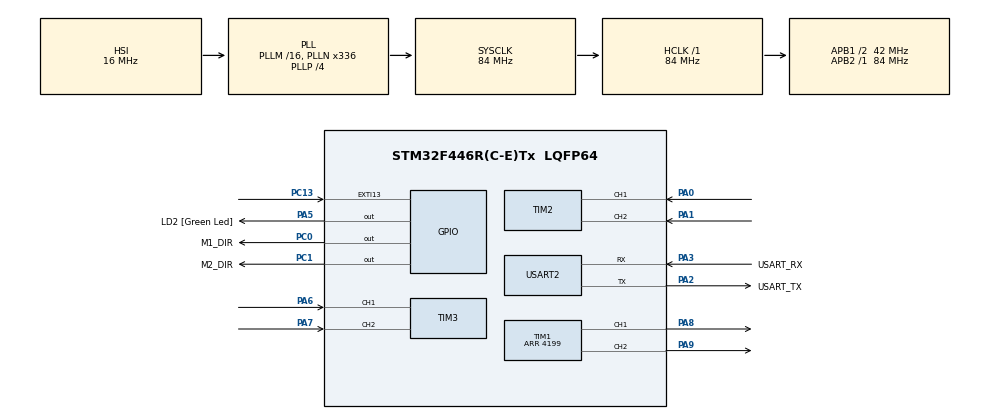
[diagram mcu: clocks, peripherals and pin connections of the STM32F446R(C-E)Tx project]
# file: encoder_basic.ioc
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Mcu.Family=STM32F4
Mcu.Name=STM32F446R(C-E)Tx
Mcu.Package=LQFP64
NUCLEO-F446RE.BUTTON=1
NVIC.EXTI15_10_IRQn=true\:0\:0\:false\:false\:true\:false\:true\:true
NVIC.PriorityGroup=NVIC_PRIORITYGROUP_0
NVIC.USART2_IRQn=true\:0\:0\:false\:false\:true\:true\:true\:true
PA0-WKUP.Signal=S_TIM2_CH1_ETR
PA1.Signal=S_TIM2_CH2
PA13.GPIO_Label=TMS
PA13.Signal=SYS_JTMS-SWDIO
PA14.GPIO_Label=TCK
PA14.Signal=SYS_JTCK-SWCLK
PA2.GPIO_Label=USART_TX
PA2.Mode=Asynchronous
PA2.Signal=USART2_TX
PA3.GPIO_Label=USART_RX
PA3.Mode=Asynchronous
PA3.Signal=USART2_RX
PA5.GPIO_Label=LD2 [Green Led]
PA5.Signal=GPIO_Output
PA6.Signal=S_TIM3_CH1
PA7.Signal=S_TIM3_CH2
PA8.Signal=S_TIM1_CH1
PA9.Signal=S_TIM1_CH2
PB3.GPIO_Label=SWO
PB3.Signal=SYS_JTDO-SWO
PC0.GPIO_Label=M1_DIR
PC0.Signal=GPIO_Output
PC1.GPIO_Label=M2_DIR
PC1.Signal=GPIO_Output
PC13.Signal=GPXTI13
PC14-OSC32_IN.Signal=RCC_OSC32_IN
PC15-OSC32_OUT.Signal=RCC_OSC32_OUT
PH0-OSC_IN.Signal=RCC_OSC_IN
PH1-OSC_OUT.Signal=RCC_OSC_OUT
ProjectManager.HeapSize=0x200
ProjectManager.StackSize=0x400
ProjectManager.TargetToolchain=STM32CubeIDE
RCC.AHBFreq_Value=84000000
RCC.APB1CLKDivider=RCC_HCLK_DIV2
RCC.APB1Freq_Value=42000000
RCC.APB1TimFreq_Value=84000000
RCC.APB2Freq_Value=84000000
RCC.APB2TimFreq_Value=84000000
RCC.CortexFreq_Value=84000000
RCC.FLatency-AdvancedSettings=FLASH_LATENCY_2
RCC.HCLKFreq_Value=84000000
RCC.HSE_VALUE=8000000
RCC.HSI_VALUE=16000000
RCC.LSE_VALUE=32768
RCC.PLLN=336
RCC.PLLP=RCC_PLLP_DIV4
RCC.SYSCLKFreq_VALUE=84000000
RCC.SYSCLKSource=RCC_SYSCLKSOURCE_PLLCLK
RCC.USBFreq_Value=168000000
RCC.VCOOutputFreq_Value=336000000
SH.S_TIM1_CH1.0=TIM1_CH1,PWM Generation1 CH1
SH.S_TIM1_CH2.0=TIM1_CH2,PWM Generation2 CH2
SH.S_TIM2_CH1_ETR.0=TIM2_CH1,Encoder_Interface
SH.S_TIM2_CH2.0=TIM2_CH2,Encoder_Interface
SH.S_TIM3_CH1.0=TIM3_CH1,Encoder_Interface
SH.S_TIM3_CH2.0=TIM3_CH2,Encoder_Interface
TIM1.AutoReloadPreload=TIM_AUTORELOAD_PRELOAD_ENABLE
TIM1.Channel-PWM\ Generation1\ CH1=TIM_CHANNEL_1
TIM1.Channel-PWM\ Generation2\ CH2=TIM_CHANNEL_2
TIM1.Period=4199
TIM2.EncoderMode=TIM_ENCODERMODE_TI12
TIM2.IC1Filter=4
TIM2.IC2Filter=4
TIM3.EncoderMode=TIM_ENCODERMODE_TI12
TIM3.IC1Filter=4
TIM3.IC2Filter=4
USART2.VirtualMode=VM_ASYNC
VP_NUCLEO-F446RE_VS_BSP_COMMON.Mode=COMMON
VP_TIM1_VS_ClockSourceINT.Mode=Internal
board=NUCLEO-F446RE

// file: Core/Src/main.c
/* USER CODE BEGIN Header */
/**
  ******************************************************************************
  * @file           : main.c
  * @brief          : Main program body
  ******************************************************************************
  * @attention
  *
  * Copyright (c) 2026 STMicroelectronics.
  * All rights reserved.
  *
  * This software is licensed under terms that can be found in the LICENSE file
  * in the root directory of this software component.
  * If no LICENSE file comes with this software, it is provided AS-IS.
  *
  ******************************************************************************
  */
/* USER CODE END Header */
#include "main.h"

/* USER CODE BEGIN Includes */
#include <stdio.h>
#include "motor_control.h"
#include "robot_control.h"

#include <stdlib.h>
#include <string.h>
#include <errno.h>
/* USER CODE END Includes */

/* USER CODE BEGIN PD */
#define COMMAND_TIMEOUT_MS 500U
/* USER CODE END PD */

TIM_HandleTypeDef htim1;
TIM_HandleTypeDef htim2;
TIM_HandleTypeDef htim3;

UART_HandleTypeDef huart2;

/* USER CODE BEGIN PV */
Motor motor1 = {
	.config = {
		.encoder_timer = &htim2,
		.pwm_timer = &htim1,
		.pwm_channel = TIM_CHANNEL_1,

		.dir_port = M1_DIR_GPIO_Port,
		.dir_pin = M1_DIR_Pin,

		.encoder_bits = 32U,
		.encoder_sign = 1,

		.counts_per_turn = 2473.6f,
		.wheel_circumference_mm = 345.6f
	}
};

Motor motor2 = {
	.config = {
		.encoder_timer = &htim3,
		.pwm_timer = &htim1,
		.pwm_channel = TIM_CHANNEL_2,

		.dir_port = M2_DIR_GPIO_Port,
		.dir_pin = M2_DIR_Pin,

		.encoder_bits = 16U,
		.encoder_sign = 1,

		.counts_per_turn = 2464.5f,
		.wheel_circumference_mm = 345.6f
	}
};

Robot robot = {
	.left_motor = &motor1,
	.right_motor = &motor2,
	.wheel_track_mm = WHEEL_TRACK_MM
};
float linear_speed_mm_s = 0.0f;
float angular_speed_rad_s = 0.0f;

static char uart_message[96];
static volatile uint8_t uart_tx_busy = 0U;

HAL_StatusTypeDef uart_tx_status = HAL_OK;

#define UART_RX_BUFFER_SIZE 64U

static uint8_t uart_rx_byte;
static uint8_t uart_rx_buffer[UART_RX_BUFFER_SIZE];

static volatile uint16_t uart_rx_head = 0U;
static volatile uint16_t uart_rx_tail = 0U;

static volatile uint8_t uart_rx_overflow = 0U;

HAL_StatusTypeDef uart_rx_status = HAL_OK;

static char uart_line[64];
static uint16_t uart_line_length = 0U;
static uint8_t uart_line_ready = 0U;
static uint8_t uart_discard_line = 0U;

static uint32_t last_command_tick = 0U;

/* USER CODE END PV */

void SystemClock_Config(void);
static void MX_GPIO_Init(void);
static void MX_TIM2_Init(void);
static void MX_TIM1_Init(void);
static void MX_TIM3_Init(void);
static void MX_USART2_UART_Init(void);

/* USER CODE BEGIN 0 */
void HAL_UART_TxCpltCallback(UART_HandleTypeDef *huart){
	if (huart->Instance == USART2) {
		uart_tx_busy = 0U;
	}
}

void HAL_UART_RxCpltCallback(UART_HandleTypeDef *huart){
	if (huart->Instance == USART2) {
		const uint16_t next_head =
			(uart_rx_head + 1U) % UART_RX_BUFFER_SIZE;

		if (next_head != uart_rx_tail) {
			/* 문자를 저장한 뒤 저장 위치를 공개합니다. */
			uart_rx_buffer[uart_rx_head] = uart_rx_byte;
			uart_rx_head = next_head;
		}
		else {
			/* 해석이나 모터 제어는 하지 않고 상태만 표시합니다. */
			uart_rx_overflow = 1U;
		}

		/* 다음 문자도 받도록 다시 요청합니다. */
		uart_rx_status = HAL_UART_Receive_IT(
			&huart2,
			&uart_rx_byte,
			1U
		);
	}
}

static void UART_ReceiveTask(void)
{
    /* 완성된 명령은 메인이 해석할 때까지 유지합니다. */
    if (uart_line_ready != 0U) {
        return;
    }

    if (uart_rx_overflow != 0U) {
        /* 넘친 버퍼를 비우는 짧은 구간만 인터럽트를 막습니다. */
        const uint32_t saved_primask = __get_PRIMASK();
        __disable_irq();

        uart_rx_tail = uart_rx_head;
        uart_rx_overflow = 0U;

        __set_PRIMASK(saved_primask);

        uart_line_length = 0U;
        uart_discard_line = 1U;
    }

    /* 한 번의 호출에서 처리량을 제한해 모터 제어로 돌아갑니다. */
    for (uint16_t i = 0U; i < UART_RX_BUFFER_SIZE; i++) {
        if (uart_rx_tail == uart_rx_head) {
            break;
        }

        const uint8_t received = uart_rx_buffer[uart_rx_tail];

        uart_rx_tail =
            (uart_rx_tail + 1U) % UART_RX_BUFFER_SIZE;

        if (received == '\n') {
            if (uart_discard_line == 0U &&
                uart_line_length > 0U) {

                uart_line[uart_line_length] = '\0';
                uart_line_length = 0U;
                uart_line_ready = 1U;
                return;
            }

            uart_line_length = 0U;
            uart_discard_line = 0U;
        }
        else if (received == '\r') {
            /* CRLF 줄바꿈의 CR은 제외합니다. */
        }
        else if (uart_discard_line == 0U) {
            if (received >= 32U && received <= 126U &&
                uart_line_length < sizeof(uart_line) - 1U) {

                uart_line[uart_line_length++] = (char)received;
            }
            else {
                /* 잘린 명령을 적용하지 않도록 줄 전체를 버립니다. */
                uart_line_length = 0U;
                uart_discard_line = 1U;
            }
        }
    }
}

static void UART_ApplyCommand(void)
{
    if (strncmp(uart_line, "V=", 2U) != 0) {
        return;
    }

    char *end;
    const char *start = uart_line + 2;

    errno = 0;
    const long linear = strtol(start, &end, 10);

    if (end == start || errno == ERANGE ||
        strncmp(end, " W=", 3U) != 0) {
        return;
    }

    start = end + 3;

    errno = 0;
    const long angular = strtol(start, &end, 10);

    if (end == start || errno == ERANGE || *end != '\0') {
        return;
    }

    /* 이번 명령 인터페이스의 허용 범위입니다. */
    if (linear < -200L || linear > 200L ||
        angular < -2000L || angular > 2000L) {
        return;
    }

    /* 두 값이 모두 정상일 때만 함께 적용합니다. */
    linear_speed_mm_s = (float)linear;
    angular_speed_rad_s = (float)angular / 1000.0f;

    last_command_tick = HAL_GetTick();
}

/* USER CODE END 0 */

int main(void)
{

  /* USER CODE BEGIN 1 */
	uint32_t previous_tick = 0;

	uint32_t previous_uart_tick = 0;
  /* USER CODE END 1 */

  /* MCU Configuration--------------------------------------------------------*/

  /* Reset of all peripherals, Initializes the Flash interface and the Systick. */
  HAL_Init();

  /* Configure the system clock */
  SystemClock_Config();

  /* Initialize all configured peripherals */
  MX_GPIO_Init();
  MX_TIM2_Init();
  MX_TIM1_Init();
  MX_TIM3_Init();
  MX_USART2_UART_Init();
  /* USER CODE BEGIN 2 */
  if (Motor_Init(&motor1) != HAL_OK){
	  Error_Handler();
  }
  if (Motor_Init(&motor2) != HAL_OK){
  	  Error_Handler();
  }

  previous_tick = HAL_GetTick();

  uart_rx_status = HAL_UART_Receive_IT(
	  &huart2, &uart_rx_byte, 1U
  );

  if (uart_rx_status != HAL_OK){
	  Error_Handler();
  }
  /* USER CODE END 2 */

  /* Initialize USER push-button, will be used to trigger an interrupt each time it's pressed.*/
  BSP_PB_Init(BUTTON_USER, BUTTON_MODE_EXTI);

  /* Infinite loop */
  while (1)
  {

    /* USER CODE BEGIN 3 */
	  UART_ReceiveTask();

	    if (uart_line_ready != 0U) {
	        UART_ApplyCommand();

	        uart_line_ready = 0U;
	    }

	  const uint32_t now = HAL_GetTick();

	    if ((uint32_t)(now - last_command_tick) >= COMMAND_TIMEOUT_MS) {
	        linear_speed_mm_s = 0.0f;
	        angular_speed_rad_s = 0.0f;
	    }

	  if ((uint32_t)(now - previous_tick) >= 100U){
		  const uint32_t sample_dt_ms = now - previous_tick;

		  Robot_SetVelocity(
			  &robot,
			  linear_speed_mm_s,
			  angular_speed_rad_s
		  );
		  // 모터 측정과 제어 수행
		  Robot_Update(&robot, sample_dt_ms);

		  previous_tick = now;
	  }

	  if ((uint32_t)(now - previous_uart_tick) >= 1000U) {
		  previous_uart_tick = now;

		  if (uart_tx_busy == 0U){
			  const int length = snprintf(
				  uart_message,
				  sizeof(uart_message),
				  "L=%ld R=%ld  X=%ld Y=%ld A=%ld\r\n",
				  (long)motor1.state.speed_mm_s,
				  (long)motor2.state.speed_mm_s,
				  (long)robot.state.x_mm,
				  (long)robot.state.y_mm,
				  (long)(robot.state.yaw_rad * 1000.0f)
			  );

			  if(length > 0 && (size_t)length < sizeof(uart_message)){

				  uart_tx_busy = 1U;

				  uart_tx_status = HAL_UART_Transmit_IT(
					  &huart2,
					  (uint8_t *)uart_message,
					  (uint16_t)length
				  );

				  if (uart_tx_status != HAL_OK){
					  uart_tx_busy = 0U;
				  }
			  }
		  }
	  }
  }
  /* USER CODE END 3 */
}

void SystemClock_Config(void)
{
  RCC_OscInitTypeDef RCC_OscInitStruct = {0};
  RCC_ClkInitTypeDef RCC_ClkInitStruct = {0};

  /** Configure the main internal regulator output voltage
  */
  __HAL_RCC_PWR_CLK_ENABLE();
  __HAL_PWR_VOLTAGESCALING_CONFIG(PWR_REGULATOR_VOLTAGE_SCALE3);

  /** Initializes the RCC Oscillators according to the specified parameters
  * in the RCC_OscInitTypeDef structure.
  */
  RCC_OscInitStruct.OscillatorType = RCC_OSCILLATORTYPE_HSI;
  RCC_OscInitStruct.HSIState = RCC_HSI_ON;
  RCC_OscInitStruct.HSICalibrationValue = RCC_HSICALIBRATION_DEFAULT;
  RCC_OscInitStruct.PLL.PLLState = RCC_PLL_ON;
  RCC_OscInitStruct.PLL.PLLSource = RCC_PLLSOURCE_HSI;
  RCC_OscInitStruct.PLL.PLLM = 16;
  RCC_OscInitStruct.PLL.PLLN = 336;
  RCC_OscInitStruct.PLL.PLLP = RCC_PLLP_DIV4;
  RCC_OscInitStruct.PLL.PLLQ = 2;
  RCC_OscInitStruct.PLL.PLLR = 2;
  if (HAL_RCC_OscConfig(&RCC_OscInitStruct) != HAL_OK)
  {
    Error_Handler();
  }

  /** Initializes the CPU, AHB and APB buses clocks
  */
  RCC_ClkInitStruct.ClockType = RCC_CLOCKTYPE_HCLK|RCC_CLOCKTYPE_SYSCLK
                              |RCC_CLOCKTYPE_PCLK1|RCC_CLOCKTYPE_PCLK2;
  RCC_ClkInitStruct.SYSCLKSource = RCC_SYSCLKSOURCE_PLLCLK;
  RCC_ClkInitStruct.AHBCLKDivider = RCC_SYSCLK_DIV1;
  RCC_ClkInitStruct.APB1CLKDivider = RCC_HCLK_DIV2;
  RCC_ClkInitStruct.APB2CLKDivider = RCC_HCLK_DIV1;

  if (HAL_RCC_ClockConfig(&RCC_ClkInitStruct, FLASH_LATENCY_2) != HAL_OK)
  {
    Error_Handler();
  }
}

static void MX_TIM1_Init(void)
{

  TIM_ClockConfigTypeDef sClockSourceConfig = {0};
  TIM_MasterConfigTypeDef sMasterConfig = {0};
  TIM_OC_InitTypeDef sConfigOC = {0};
  TIM_BreakDeadTimeConfigTypeDef sBreakDeadTimeConfig = {0};

  htim1.Instance = TIM1;
  htim1.Init.Prescaler = 0;
  htim1.Init.CounterMode = TIM_COUNTERMODE_UP;
  htim1.Init.Period = 4199;
  htim1.Init.ClockDivision = TIM_CLOCKDIVISION_DIV1;
  htim1.Init.RepetitionCounter = 0;
  htim1.Init.AutoReloadPreload = TIM_AUTORELOAD_PRELOAD_ENABLE;
  if (HAL_TIM_Base_Init(&htim1) != HAL_OK)
  {
    Error_Handler();
  }
  sClockSourceConfig.ClockSource = TIM_CLOCKSOURCE_INTERNAL;
  if (HAL_TIM_ConfigClockSource(&htim1, &sClockSourceConfig) != HAL_OK)
  {
    Error_Handler();
  }
  if (HAL_TIM_PWM_Init(&htim1) != HAL_OK)
  {
    Error_Handler();
  }
  sMasterConfig.MasterOutputTrigger = TIM_TRGO_RESET;
  sMasterConfig.MasterSlaveMode = TIM_MASTERSLAVEMODE_DISABLE;
  if (HAL_TIMEx_MasterConfigSynchronization(&htim1, &sMasterConfig) != HAL_OK)
  {
    Error_Handler();
  }
  sConfigOC.OCMode = TIM_OCMODE_PWM1;
  sConfigOC.Pulse = 0;
  sConfigOC.OCPolarity = TIM_OCPOLARITY_HIGH;
  sConfigOC.OCNPolarity = TIM_OCNPOLARITY_HIGH;
  sConfigOC.OCFastMode = TIM_OCFAST_DISABLE;
  sConfigOC.OCIdleState = TIM_OCIDLESTATE_RESET;
  sConfigOC.OCNIdleState = TIM_OCNIDLESTATE_RESET;
  if (HAL_TIM_PWM_ConfigChannel(&htim1, &sConfigOC, TIM_CHANNEL_1) != HAL_OK)
  {
    Error_Handler();
  }
  if (HAL_TIM_PWM_ConfigChannel(&htim1, &sConfigOC, TIM_CHANNEL_2) != HAL_OK)
  {
    Error_Handler();
  }
  sBreakDeadTimeConfig.OffStateRunMode = TIM_OSSR_DISABLE;
  sBreakDeadTimeConfig.OffStateIDLEMode = TIM_OSSI_DISABLE;
  sBreakDeadTimeConfig.LockLevel = TIM_LOCKLEVEL_OFF;
  sBreakDeadTimeConfig.DeadTime = 0;
  sBreakDeadTimeConfig.BreakState = TIM_BREAK_DISABLE;
  sBreakDeadTimeConfig.BreakPolarity = TIM_BREAKPOLARITY_HIGH;
  sBreakDeadTimeConfig.AutomaticOutput = TIM_AUTOMATICOUTPUT_DISABLE;
  if (HAL_TIMEx_ConfigBreakDeadTime(&htim1, &sBreakDeadTimeConfig) != HAL_OK)
  {
    Error_Handler();
  }
  HAL_TIM_MspPostInit(&htim1);

}

static void MX_TIM2_Init(void)
{

  TIM_Encoder_InitTypeDef sConfig = {0};
  TIM_MasterConfigTypeDef sMasterConfig = {0};

  htim2.Instance = TIM2;
  htim2.Init.Prescaler = 0;
  htim2.Init.CounterMode = TIM_COUNTERMODE_UP;
  htim2.Init.Period = 4294967295;
  htim2.Init.ClockDivision = TIM_CLOCKDIVISION_DIV1;
  htim2.Init.AutoReloadPreload = TIM_AUTORELOAD_PRELOAD_DISABLE;
  sConfig.EncoderMode = TIM_ENCODERMODE_TI12;
  sConfig.IC1Polarity = TIM_ICPOLARITY_RISING;
  sConfig.IC1Selection = TIM_ICSELECTION_DIRECTTI;
  sConfig.IC1Prescaler = TIM_ICPSC_DIV1;
  sConfig.IC1Filter = 4;
  sConfig.IC2Polarity = TIM_ICPOLARITY_RISING;
  sConfig.IC2Selection = TIM_ICSELECTION_DIRECTTI;
  sConfig.IC2Prescaler = TIM_ICPSC_DIV1;
  sConfig.IC2Filter = 4;
  if (HAL_TIM_Encoder_Init(&htim2, &sConfig) != HAL_OK)
  {
    Error_Handler();
  }
  sMasterConfig.MasterOutputTrigger = TIM_TRGO_RESET;
  sMasterConfig.MasterSlaveMode = TIM_MASTERSLAVEMODE_DISABLE;
  if (HAL_TIMEx_MasterConfigSynchronization(&htim2, &sMasterConfig) != HAL_OK)
  {
    Error_Handler();
  }

}

static void MX_TIM3_Init(void)
{

  TIM_Encoder_InitTypeDef sConfig = {0};
  TIM_MasterConfigTypeDef sMasterConfig = {0};

  htim3.Instance = TIM3;
  htim3.Init.Prescaler = 0;
  htim3.Init.CounterMode = TIM_COUNTERMODE_UP;
  htim3.Init.Period = 65535;
  htim3.Init.ClockDivision = TIM_CLOCKDIVISION_DIV1;
  htim3.Init.AutoReloadPreload = TIM_AUTORELOAD_PRELOAD_DISABLE;
  sConfig.EncoderMode = TIM_ENCODERMODE_TI12;
  sConfig.IC1Polarity = TIM_ICPOLARITY_RISING;
  sConfig.IC1Selection = TIM_ICSELECTION_DIRECTTI;
  sConfig.IC1Prescaler = TIM_ICPSC_DIV1;
  sConfig.IC1Filter = 4;
  sConfig.IC2Polarity = TIM_ICPOLARITY_RISING;
  sConfig.IC2Selection = TIM_ICSELECTION_DIRECTTI;
  sConfig.IC2Prescaler = TIM_ICPSC_DIV1;
  sConfig.IC2Filter = 4;
  if (HAL_TIM_Encoder_Init(&htim3, &sConfig) != HAL_OK)
  {
    Error_Handler();
  }
  sMasterConfig.MasterOutputTrigger = TIM_TRGO_RESET;
  sMasterConfig.MasterSlaveMode = TIM_MASTERSLAVEMODE_DISABLE;
  if (HAL_TIMEx_MasterConfigSynchronization(&htim3, &sMasterConfig) != HAL_OK)
  {
    Error_Handler();
  }

}

static void MX_USART2_UART_Init(void)
{

  huart2.Instance = USART2;
  huart2.Init.BaudRate = 115200;
  huart2.Init.WordLength = UART_WORDLENGTH_8B;
  huart2.Init.StopBits = UART_STOPBITS_1;
  huart2.Init.Parity = UART_PARITY_NONE;
  huart2.Init.Mode = UART_MODE_TX_RX;
  huart2.Init.HwFlowCtl = UART_HWCONTROL_NONE;
  huart2.Init.OverSampling = UART_OVERSAMPLING_16;
  if (HAL_UART_Init(&huart2) != HAL_OK)
  {
    Error_Handler();
  }

}

static void MX_GPIO_Init(void)
{
  GPIO_InitTypeDef GPIO_InitStruct = {0};

  /* GPIO Ports Clock Enable */
  __HAL_RCC_GPIOC_CLK_ENABLE();
  __HAL_RCC_GPIOH_CLK_ENABLE();
  __HAL_RCC_GPIOA_CLK_ENABLE();
  __HAL_RCC_GPIOB_CLK_ENABLE();

  /*Configure GPIO pin Output Level */
  HAL_GPIO_WritePin(GPIOC, M1_DIR_Pin|M2_DIR_Pin, GPIO_PIN_RESET);

  /*Configure GPIO pin Output Level */
  HAL_GPIO_WritePin(LD2_GPIO_Port, LD2_Pin, GPIO_PIN_RESET);

  /*Configure GPIO pins : M1_DIR_Pin M2_DIR_Pin */
  GPIO_InitStruct.Pin = M1_DIR_Pin|M2_DIR_Pin;
  GPIO_InitStruct.Mode = GPIO_MODE_OUTPUT_PP;
  GPIO_InitStruct.Pull = GPIO_NOPULL;
  GPIO_InitStruct.Speed = GPIO_SPEED_FREQ_LOW;
  HAL_GPIO_Init(GPIOC, &GPIO_InitStruct);

  /*Configure GPIO pin : LD2_Pin */
  GPIO_InitStruct.Pin = LD2_Pin;
  GPIO_InitStruct.Mode = GPIO_MODE_OUTPUT_PP;
  GPIO_InitStruct.Pull = GPIO_NOPULL;
  GPIO_InitStruct.Speed = GPIO_SPEED_FREQ_LOW;
  HAL_GPIO_Init(LD2_GPIO_Port, &GPIO_InitStruct);

}

void Error_Handler(void)
{
  /* USER CODE BEGIN Error_Handler_Debug */
	if (htim1.Instance == TIM1)
	{
		HAL_TIM_PWM_Stop(&htim1, TIM_CHANNEL_1);
		HAL_TIM_PWM_Stop(&htim1, TIM_CHANNEL_2);
	}
  /* User can add his own implementation to report the HAL error return state */
  __disable_irq();
  while (1)
  {
  }
  /* USER CODE END Error_Handler_Debug */
}
